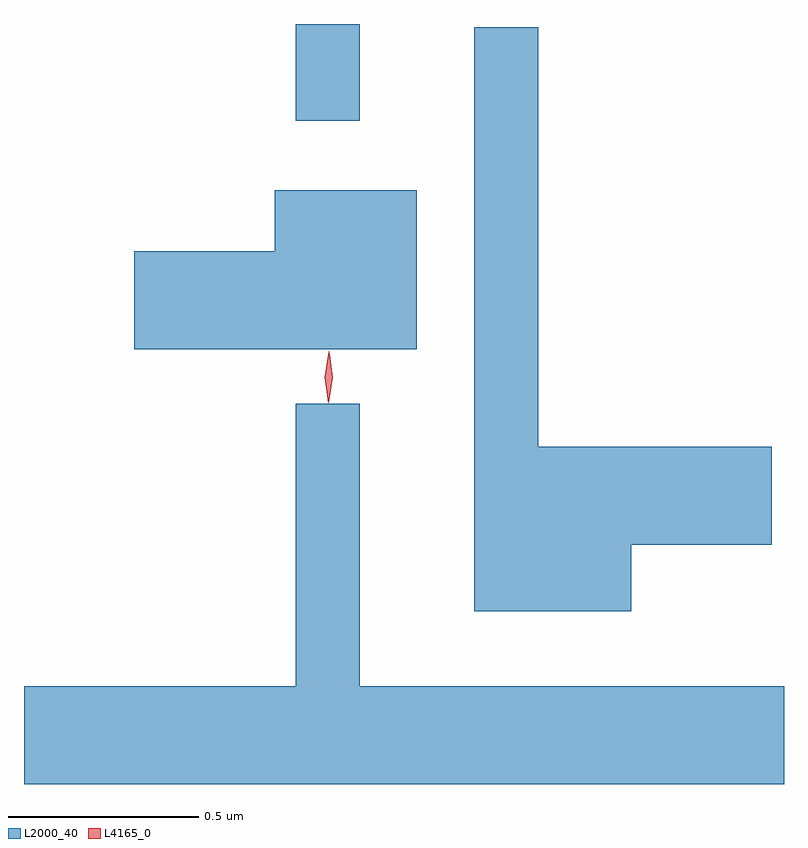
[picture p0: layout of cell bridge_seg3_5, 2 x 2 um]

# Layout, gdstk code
import gdstk
lib = gdstk.Library(unit=1e-6, precision=1e-09)
def R(c, l, rs):  # rectangles x0, y0, x1, y1
    for r in rs: c.add(gdstk.rectangle(r[:2], r[2:], *l))
def P(c, l, *ps):  # polygons
    for p in ps: c.add(gdstk.Polygon(p, *l))
L2000_40 = (2000, 40)
L4165_0 = (4165, 0)

bridge_seg3_5 = lib.new_cell('bridge_seg3_5')
R(bridge_seg3_5, L2000_40, [(1739.011,1138.873,1739.179,1139.127)])
P(bridge_seg3_5, L2000_40, [(1739.894,1137.756),(1740.264,1137.756),(1740.264,1138.014),(1739.649,1138.014),(1739.649,1139.118),(1739.481,1139.118),(1739.481,1137.581),(1739.894,1137.581)],
  [(1739.329,1138.689),(1738.956,1138.689),(1738.956,1138.529),(1738.586,1138.529),(1738.586,1138.271),(1739.329,1138.271)],
  [(1740.296,1137.384),(1739.179,1137.384),(1739.179,1138.128),(1739.011,1138.128),(1739.011,1137.384),(1738.296,1137.384),(1738.296,1137.127),(1740.296,1137.127)])
P(bridge_seg3_5, L4165_0, [(1739.097,1138.13),(1739.088,1138.198),(1739.098,1138.265),(1739.099,1138.266),(1739.099,1138.265),(1739.108,1138.198),(1739.098,1138.13),(1739.098,1138.13)],
  [(1739.097,1138.133),(1739.088,1138.196),(1739.099,1138.259),(1739.099,1138.26),(1739.1,1138.259),(1739.108,1138.196),(1739.098,1138.133),(1739.098,1138.133)])

lib.write_gds('bridge_seg3_5.gds')
